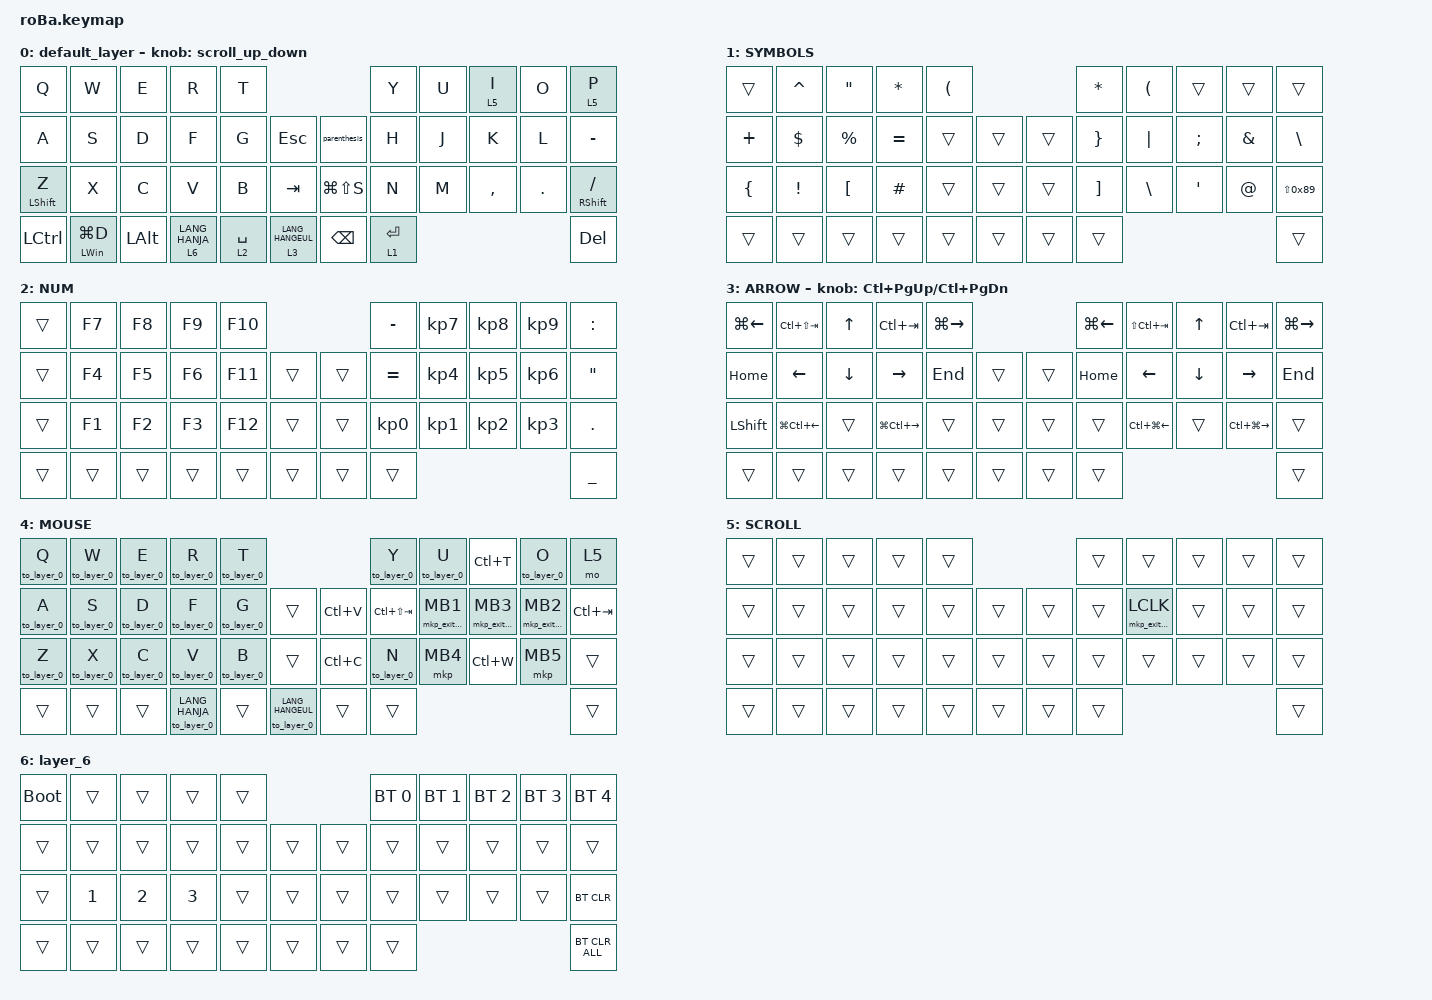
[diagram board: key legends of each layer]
#include <behaviors.dtsi>
#include <dt-bindings/zmk/bt.h>
#include <dt-bindings/zmk/keys.h>
#include <dt-bindings/zmk/pointing.h>

// OS設定を日本語キーボードのまま使用するための変換定義

#define JP_DQUOTE       AT                // "
#define JP_AMPERSAND    CARET             // &
#define JP_QUOTE        AMPERSAND         // '
#define JP_EQUAL        UNDER             // =
#define JP_CARET        EQUAL             // ^
#define JP_YEN          0x89              // ¥
#define JP_PLUS         COLON             // +
#define JP_TILDE        PLUS              // ~
#define JP_PIPE         LS(0x89)          // |
#define JP_AT           LEFT_BRACKET      // @
#define JP_COLON        SINGLE_QUOTE      // :
#define JP_ASTERISK     DOUBLE_QUOTES     // *
#define JP_BACKQUOTE    LEFT_BRACE        // `
#define JP_UNDERSCORE   LS(0x87)          // _
#define JP_LBRACKET     RIGHT_BRACKET     // [
#define JP_RBRACKET     BACKSLASH         // ]
#define JP_LPAREN       ASTERISK          // (
#define JP_RPAREN       LEFT_PARENTHESIS  // )
#define JP_LBRACE       RIGHT_BRACE       // {
#define JP_RBRACE       PIPE              // }
#define JP_KANA         LANGUAGE_1        // かな
#define JP_EISU         LANGUAGE_2        // 英数
#define JP_HANZEN       GRAVE             // 半角/全角
#define ZMK_POINTING_DEFAULT_SCRL_VAL 100
#define MOUSE 4
#define SCROLL 5
#define NUM 6

&mt {
    flavor = "hold-preferred";
    quick-tap-ms = <0>;
};

&sl { release-after-ms = <250>; };

/ {
    combos {
        compatible = "zmk,combos";

        BT0 {
            bindings = <&bt BT_SEL 0>;
            key-positions = <28 22>;
        };

        BT1 {
            bindings = <&bt BT_SEL 1>;
            key-positions = <28 23>;
        };

        BT2 {
            bindings = <&bt BT_SEL 2>;
            key-positions = <28 24>;
        };

        BT3 {
            bindings = <&bt BT_SEL 3>;
            key-positions = <28 25>;
        };

        under {
            bindings = <&kp UNDERSCORE>;
            key-positions = <18 19>;
        };
    };

    macros {
        to_layer_0: to_layer_0 {
            compatible = "zmk,behavior-macro-one-param";
            #binding-cells = <1>;
            bindings = <&to 0 &macro_param_1to1 &kp MACRO_PLACEHOLDER>;
            label = "TO_LAYER_0";
        };

        mkp_exit_AML: mkp_exit_AML {
            compatible = "zmk,behavior-macro-one-param";
            #binding-cells = <1>;
            bindings =
                <&macro_press>,
                <&macro_param_1to1 &mkp MACRO_PLACEHOLDER>,
                <&macro_pause_for_release>,
                <&macro_release>,
                <&macro_param_1to1 &mkp MACRO_PLACEHOLDER>,
                <&macro_tap>,
                <&sl 4>;

            label = "MKP_EXIT_AML";
        };

        parenthesis: parenthesis {
            compatible = "zmk,behavior-macro";
            #binding-cells = <0>;
            bindings = <&kp LANGUAGE_1 &kp ASTERISK &kp LEFT_PARENTHESIS &kp LEFT_ARROW>;
            label = "parenthesis";
        };
    };

    behaviors {
        scroll_up_down: behavior_sensor_rotate_mouse_wheel_up_down {
            compatible = "zmk,behavior-sensor-rotate";
            #sensor-binding-cells = <0>;
            bindings = <&msc SCRL_DOWN>, <&msc SCRL_UP>;

            // 追加: スクロールのタップ時間を設定 (20ms)

            tap-ms = <20>;
        };

        multi_tap_tab_bspc: behavior_multi_tap {
            label = "MT_TAB_BSPC";
            #binding-cells = <0>;
            bindings = <&kp TAB>, <&kp BSPC>;

            max-taps = <2>;
            max-tap-interrupt-ms = <250>;
        };
    };

    keymap {
        compatible = "zmk,keymap";

        default_layer {
            bindings = <
&kp Q             &kp W               &kp E         &kp R             &kp T                                               &kp Y        &kp U  &lt 5 I    &kp O    &lt 5 P
&kp A             &kp S               &kp D         &kp F             &kp G        &kp ESCAPE              &parenthesis   &kp H        &kp J  &kp K      &kp L    &kp MINUS
&mt LEFT_SHIFT Z  &kp X               &kp C         &kp V             &kp B        &kp TAB                 &kp LG(LS(S))  &kp N        &kp M  &kp COMMA  &kp DOT  &mt RIGHT_SHIFT SLASH
&kp LCTRL         &mt LEFT_WIN LG(D)  &kp LEFT_ALT  &lt 6 LANG_HANJA  &lt 2 SPACE  &lt 3 LANG_HANGEUL      &kp BACKSPACE  &lt 1 ENTER                             &kp DEL
            >;

            sensor-bindings = <&scroll_up_down>;
        };

        SYMBOLS {
            bindings = <
&trans          &kp CARET        &kp DOUBLE_QUOTES  &kp ASTERISK  &kp LEFT_PARENTHESIS                      &kp ASTERISK       &kp LEFT_PARENTHESIS  &trans            &trans         &trans
&kp PLUS        &kp DOLLAR       &kp PERCENT        &kp EQUAL     &trans                &trans      &trans  &kp RIGHT_BRACE    &kp PIPE              &kp SEMICOLON     &kp AMPERSAND  &kp BACKSLASH
&kp LEFT_BRACE  &kp EXCLAMATION  &kp LEFT_BRACKET   &kp HASH      &trans                &trans      &trans  &kp RIGHT_BRACKET  &kp BACKSLASH         &kp SINGLE_QUOTE  &kp AT         &kp JP_PIPE
&trans          &trans           &trans             &trans        &trans                &trans      &trans  &trans                                                                    &trans
            >;
        };

        NUM {
            bindings = <
&trans  &kp F7  &kp F8  &kp F9  &kp F10                      &kp MINUS        &kp KP_NUMBER_7  &kp KP_NUMBER_8  &kp KP_NUMBER_9  &kp COLON
&trans  &kp F4  &kp F5  &kp F6  &kp F11  &trans      &trans  &kp EQUAL        &kp KP_NUMBER_4  &kp KP_NUMBER_5  &kp KP_NUMBER_6  &kp DOUBLE_QUOTES
&trans  &kp F1  &kp F2  &kp F3  &kp F12  &trans      &trans  &kp KP_NUMBER_0  &kp KP_NUMBER_1  &kp KP_NUMBER_2  &kp KP_NUMBER_3  &kp PERIOD
&trans  &trans  &trans  &trans  &trans   &trans      &trans  &trans                                                              &kp UNDER
            >;
        };

        ARROW {
            bindings = <
&kp LG(LEFT_ARROW)  &kp LC(LS(TAB))         &kp UP_ARROW    &kp LC(TAB)              &kp LG(RIGHT_ARROW)                      &kp LG(LEFT_ARROW)  &kp LS(LC(TAB))         &kp UP_ARROW    &kp LC(TAB)              &kp LG(RIGHT_ARROW)
&kp HOME            &kp LEFT_ARROW          &kp DOWN_ARROW  &kp RIGHT_ARROW          &kp END              &trans      &trans  &kp HOME            &kp LEFT_ARROW          &kp DOWN_ARROW  &kp RIGHT_ARROW          &kp END
&kp LEFT_SHIFT      &kp LG(LC(LEFT_ARROW))  &trans          &kp LG(LC(RIGHT_ARROW))  &trans               &trans      &trans  &trans              &kp LC(LG(LEFT_ARROW))  &trans          &kp LC(LG(RIGHT_ARROW))  &trans
&trans              &trans                  &trans          &trans                   &trans               &trans      &trans  &trans                                                                               &trans
            >;

            sensor-bindings = <&inc_dec_kp LC(PAGE_UP) LC(PAGE_DOWN)>;
        };

        MOUSE {
            bindings = <
&to_layer_0 Q  &to_layer_0 W  &to_layer_0 E  &to_layer_0 R           &to_layer_0 T                                           &to_layer_0 Y    &to_layer_0 U      &kp LC(T)          &to_layer_0 O      &mo 5
&to_layer_0 A  &to_layer_0 S  &to_layer_0 D  &to_layer_0 F           &to_layer_0 G  &trans                        &kp LC(V)  &kp LC(LS(TAB))  &mkp_exit_AML MB1  &mkp_exit_AML MB3  &mkp_exit_AML MB2  &kp LC(TAB)
&to_layer_0 Z  &to_layer_0 X  &to_layer_0 C  &to_layer_0 V           &to_layer_0 B  &trans                        &kp LC(C)  &to_layer_0 N    &mkp MB4           &kp LC(W)          &mkp MB5           &trans
&trans         &trans         &trans         &to_layer_0 LANG_HANJA  &trans         &to_layer_0 LANG_HANGEUL      &trans     &trans                                                                    &trans
            >;
        };

        SCROLL {
            bindings = <
&trans  &trans  &trans  &trans  &trans                      &trans  &trans              &trans  &trans  &trans
&trans  &trans  &trans  &trans  &trans  &trans      &trans  &trans  &mkp_exit_AML LCLK  &trans  &trans  &trans
&trans  &trans  &trans  &trans  &trans  &trans      &trans  &trans  &trans              &trans  &trans  &trans
&trans  &trans  &trans  &trans  &trans  &trans      &trans  &trans                                      &trans
            >;
        };

        layer_6 {
            bindings = <
&bootloader  &trans        &trans        &trans        &trans                      &bt BT_SEL 0  &bt BT_SEL 1  &bt BT_SEL 2  &bt BT_SEL 3  &bt BT_SEL 4
&trans       &trans        &trans        &trans        &trans  &trans      &trans  &trans        &trans        &trans        &trans        &trans
&trans       &kp NUMBER_1  &kp NUMBER_2  &kp NUMBER_3  &trans  &trans      &trans  &trans        &trans        &trans        &trans        &bt BT_CLR
&trans       &trans        &trans        &trans        &trans  &trans      &trans  &trans                                                  &bt BT_CLR_ALL
            >;
        };
    };
};
